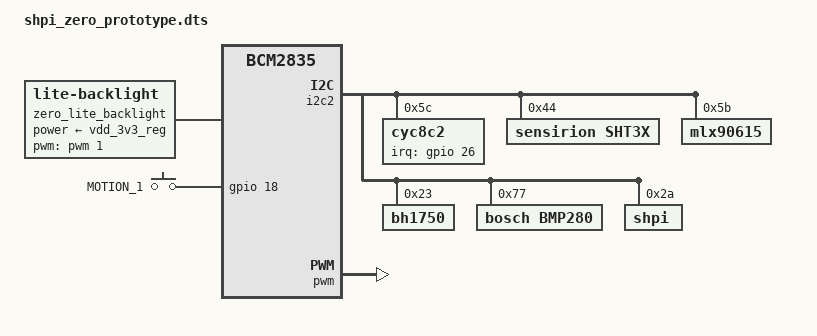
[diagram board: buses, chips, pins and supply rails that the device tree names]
/dts-v1/;
/plugin/;

/{
	compatible = "brcm,bcm2835";


	fragment@0 {
		target = <&fb>;
		__overlay__ {
			pinctrl-names = "default";
			pinctrl-0 = <&dpi18_pins>;
		};
	};

	fragment@1 {
		target = <&vc4>;
		__overlay__ {
			pinctrl-names = "default";
			pinctrl-0 = <&dpi18_pins>;
		};
	};

	fragment@2 {
		target = <&gpio>;
		__overlay__ {
			dpi18_pins: dpi18_pins {
				brcm,pins = <0 1 2 3 4 5 6 7 8 9
					     12 13 14 15 16 17 20
					     21 22 23 24 25>; /* no 10, 19, 27 */
				brcm,function = <6>; /* alt2 */
				brcm,pull = <0>; /* no pull */
			};
		};
	};
	
	
    fragment@3 {
                target = <&gpio>;
                __overlay__ {
                        cyc8c2_pins: cyc8c2_pins {
                                brcm,pins = <26>; // interrupt
                                brcm,function = <0>; // in
                                brcm,pull = <0>; // pull-down
                        };
                };
        };


        fragment@4 {
        target = <&i2c2>;

        __overlay__ {
            #address-cells = <1>;
            #size-cells = <0>;
            status = "okay";
            cyc8c2: cyc8c2@5c {
                compatible = "cyc8c2";
                reg = <0x5c>;
                pinctrl-names = "default";
                pinctrl-0 = <&cyc8c2_pins>;
                interrupt-parent = <&gpio>;
		sensivity = <0x40>;
                interrupts = <26 2>;
                irq-gpios = <&gpio 26 0>;
                touchscreen-inverted-x;
                touchscreen-inverted-y;


            };
        };
    };


    fragment@5 {
        target = <&i2c2>;
        __overlay__ {
            #address-cells = <1>;
            #size-cells = <0>;
            status = "okay";
            sht3x@44 {
                compatible = "sensirion,sht3x";
                reg = <0x44>;

            };
        };
    };




     fragment@6 {
                target = <&gpio>;
                __overlay__ {
                        pwm_pins: pwm_pins {
                                brcm,pins = <19>;
                                brcm,function = <2>;//alt5 to select PWM01
                        };
                };
        };


        fragment@7 {
                target = <&pwm>;
                frag12: __overlay__ {
                        pinctrl-names = "default";
                        pinctrl-0 = <&pwm_pins>;
                        assigned-clock-rates = <1000000>;
                        status = "okay";
                };
        };

        fragment@8 {
                target-path = "/";
                __overlay__ {
                        zero_lite_backlight: zero_lite_backlight {
                                compatible = "lite-backlight";
                                max-brightness = <1023>;
                                default-brightness-level = <512>;
                                pwms = <&pwm 1 5000000>;
                                power-supply = <&vdd_3v3_reg>;
                                status = "okay";
                        };
                };
        };



    fragment@9 {
        target = <&i2c2>;
        __overlay__ {
            #address-cells = <1>;
            #size-cells = <0>;
            status = "okay";
            mlx90615@5b {
                compatible = "mlx90615";
                reg = <0x5b>;
            };
        };
    };

    fragment@10 {
        target = <&i2c2>;
        __overlay__ {
            #address-cells = <1>;
            #size-cells = <0>;
            status = "okay";
            bh1750@23 {
                compatible = "bh1750";
                reg = <0x23>;

            };
        };
    };


    fragment@11 {
        target = <&i2c2>;
        __overlay__ {
            #address-cells = <1>;
            #size-cells = <0>;
            status = "okay";
            bmp280@77 {
                compatible = "bosch,bmp280";
                reg = <0x77>;
            };
        };
    };

   fragment@12 {
        target = <&i2c2>;
        __overlay__ {
            #address-cells = <1>;
            #size-cells = <0>;
            status = "okay";
	    shpi@2a {
            compatible = "shpi";
            reg = <0x2a>;
            };
     };
    };



   fragment@13 {
                // Configure the gpio pin controller
                target = <&gpio>;
                __overlay__ {
                        pin_state: motion_pins {
                                brcm,pins = <18>; // gpio number
                                brcm,function = <0>; // 0 = input, 1 = output
                                brcm,pull = <1>; // 0 = none, 1 = pull down, 2 = pull up
                        };
                };
        };
        fragment@14 {
                target-path = "/";
                __overlay__ {
                        motion: motion {
                                compatible = "gpio-keys";
                                pinctrl-names = "default";
                                pinctrl-0 = <&pin_state>;
                                status = "okay";
                                

                                key: key {
                                        linux,code = <132>;
                                        gpios = <&gpio 18 0>;
                                        label = "MOTION_1";
                                };
                        };
                };
        };




	
};
